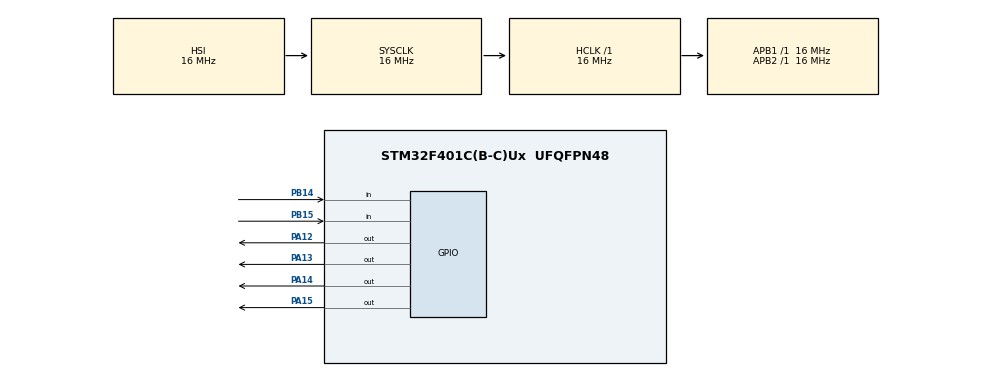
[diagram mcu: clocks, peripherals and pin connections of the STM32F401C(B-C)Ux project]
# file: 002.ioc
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Mcu.Family=STM32F4
Mcu.Name=STM32F401C(B-C)Ux
Mcu.Package=UFQFPN48
NVIC.PriorityGroup=NVIC_PRIORITYGROUP_4
PA12.Signal=GPIO_Output
PA13.Signal=GPIO_Output
PA14.Signal=GPIO_Output
PA15.Signal=GPIO_Output
PB14.Signal=GPIO_Input
PB15.Signal=GPIO_Input
ProjectManager.HeapSize=0x200
ProjectManager.StackSize=0x400
ProjectManager.TargetToolchain=STM32CubeIDE
RCC.AHBFreq_Value=16000000
RCC.APB1Freq_Value=16000000
RCC.APB2Freq_Value=16000000
RCC.CortexFreq_Value=16000000
RCC.HSE_VALUE=25000000
RCC.HSI_VALUE=16000000
RCC.LSE_VALUE=32768
RCC.SYSCLKFreq_VALUE=16000000
RCC.VCOOutputFreq_Value=192000000
board=custom

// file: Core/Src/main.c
/* USER CODE BEGIN Header */
/**
  ******************************************************************************
  * @file           : main.c
  * @brief          : Main program body
  ******************************************************************************
  * @attention
  *
  * Copyright (c) 2022 STMicroelectronics.
  * All rights reserved.
  *
  * This software is licensed under terms that can be found in the LICENSE file
  * in the root directory of this software component.
  * If no LICENSE file comes with this software, it is provided AS-IS.
  *
  ******************************************************************************
  */
/* USER CODE END Header */
#include "main.h"
#include "gpio.h"

/* USER CODE BEGIN PV */
int	a = 0;
int b = 0;
/* USER CODE END PV */

void SystemClock_Config(void);

int main(void)
{

  /* MCU Configuration--------------------------------------------------------*/

  /* Reset of all peripherals, Initializes the Flash interface and the Systick. */
  HAL_Init();

  /* Configure the system clock */
  SystemClock_Config();

  /* Initialize all configured peripherals */
  MX_GPIO_Init();

  /* Infinite loop */
  /* USER CODE BEGIN WHILE */
  while (1)
  {
	  HAL_Delay(100);
	  if ((HAL_GPIO_ReadPin(GPIOB, GPIO_PIN_15) == GPIO_PIN_SET) && (HAL_GPIO_ReadPin(GPIOB, GPIO_PIN_14) == GPIO_PIN_RESET))
		  a = a+1;
	  HAL_Delay(100);
	  if ((HAL_GPIO_ReadPin(GPIOB, GPIO_PIN_14) == GPIO_PIN_SET) && (HAL_GPIO_ReadPin(GPIOB, GPIO_PIN_15) == GPIO_PIN_RESET))
		  b = b+1;

	  switch(a){
	  	  case 0:{
	  		  if (b == 0)
	  		  HAL_GPIO_WritePin(GPIOA, GPIO_PIN_12, GPIO_PIN_RESET);
	  		  break;
	  	  }
	  	  case 1: {
	  		  HAL_GPIO_WritePin(GPIOA, GPIO_PIN_15, GPIO_PIN_SET);
	  		  break;
	  	  }
	  	  case 2: {
	  		  HAL_GPIO_WritePin(GPIOA, GPIO_PIN_15, GPIO_PIN_RESET);
	  		  HAL_GPIO_WritePin(GPIOA, GPIO_PIN_14, GPIO_PIN_SET);
	  		  break;
	  	  }
		  case 3: {
			  HAL_GPIO_WritePin(GPIOA, GPIO_PIN_14, GPIO_PIN_RESET);
			  HAL_GPIO_WritePin(GPIOA, GPIO_PIN_13, GPIO_PIN_SET);
			  break;
		  }
		  case 4:{
			  HAL_GPIO_WritePin(GPIOA, GPIO_PIN_13, GPIO_PIN_RESET);
			  HAL_GPIO_WritePin(GPIOA, GPIO_PIN_12, GPIO_PIN_SET);
			  break;
		  }
		  case 5: {
			  a=0;
		  }
	  }
	switch(b){
		case 0:{
			if(a == 0){
				HAL_GPIO_WritePin(GPIOA, GPIO_PIN_13, GPIO_PIN_RESET);
				HAL_GPIO_WritePin(GPIOA, GPIO_PIN_14, GPIO_PIN_RESET);
				HAL_GPIO_WritePin(GPIOA, GPIO_PIN_15, GPIO_PIN_RESET);
			}
			break;
		}
		case 1:{
			HAL_GPIO_WritePin(GPIOA, GPIO_PIN_12, GPIO_PIN_SET);
			break;
		}
		case 2:{
			HAL_GPIO_WritePin(GPIOA, GPIO_PIN_13, GPIO_PIN_SET);
			break;
		}
		case 3:{
			HAL_GPIO_WritePin(GPIOA, GPIO_PIN_14, GPIO_PIN_SET);
			break;
		}
		case 4:{
			HAL_GPIO_WritePin(GPIOA, GPIO_PIN_15, GPIO_PIN_SET);
			break;
		}
		case 5:{
			b=0;
			break;
		}

	}

    /* USER CODE END WHILE */

  }
}

void SystemClock_Config(void)
{
  RCC_OscInitTypeDef RCC_OscInitStruct = {0};
  RCC_ClkInitTypeDef RCC_ClkInitStruct = {0};

  /** Configure the main internal regulator output voltage
  */
  __HAL_RCC_PWR_CLK_ENABLE();
  __HAL_PWR_VOLTAGESCALING_CONFIG(PWR_REGULATOR_VOLTAGE_SCALE2);

  /** Initializes the RCC Oscillators according to the specified parameters
  * in the RCC_OscInitTypeDef structure.
  */
  RCC_OscInitStruct.OscillatorType = RCC_OSCILLATORTYPE_HSI;
  RCC_OscInitStruct.HSIState = RCC_HSI_ON;
  RCC_OscInitStruct.HSICalibrationValue = RCC_HSICALIBRATION_DEFAULT;
  RCC_OscInitStruct.PLL.PLLState = RCC_PLL_NONE;
  if (HAL_RCC_OscConfig(&RCC_OscInitStruct) != HAL_OK)
  {
    Error_Handler();
  }

  /** Initializes the CPU, AHB and APB buses clocks
  */
  RCC_ClkInitStruct.ClockType = RCC_CLOCKTYPE_HCLK|RCC_CLOCKTYPE_SYSCLK
                              |RCC_CLOCKTYPE_PCLK1|RCC_CLOCKTYPE_PCLK2;
  RCC_ClkInitStruct.SYSCLKSource = RCC_SYSCLKSOURCE_HSI;
  RCC_ClkInitStruct.AHBCLKDivider = RCC_SYSCLK_DIV1;
  RCC_ClkInitStruct.APB1CLKDivider = RCC_HCLK_DIV1;
  RCC_ClkInitStruct.APB2CLKDivider = RCC_HCLK_DIV1;

  if (HAL_RCC_ClockConfig(&RCC_ClkInitStruct, FLASH_LATENCY_0) != HAL_OK)
  {
    Error_Handler();
  }
}

void Error_Handler(void)
{
  __disable_irq();
  while (1)
  {
  }
}
